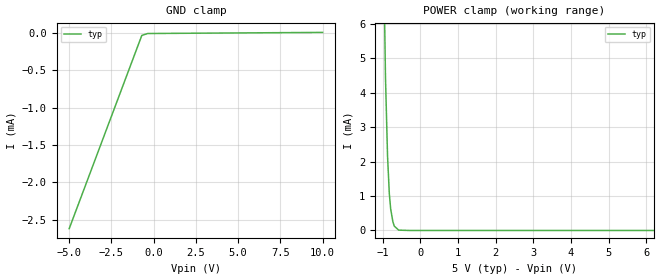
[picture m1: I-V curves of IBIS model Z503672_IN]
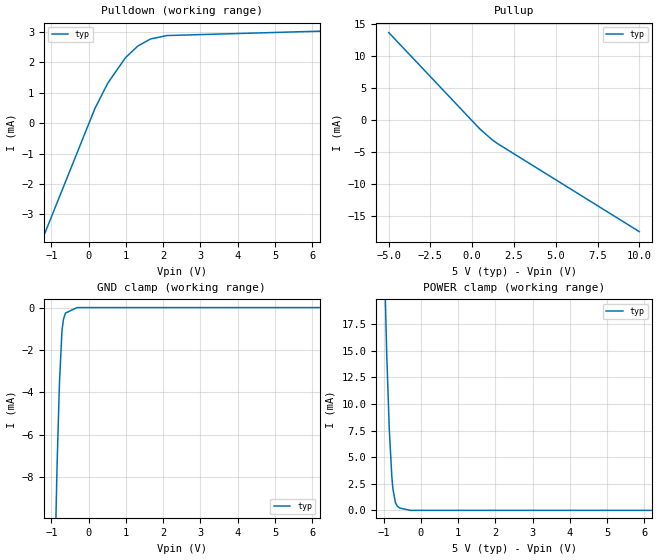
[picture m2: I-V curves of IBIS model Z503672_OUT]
| YOU ARE ONLY AUTHORIZED TO USE THIS SOFTWARE
| ACCORDING TO LICENSOR'S LICENSE RESTRICTIONS.
[IBIS Ver] 3.1
[File Name] mc14556bd.ibs
[File Rev] 2.0
[Source] Measured and created by ICX Technology
[Date] Friday 7/14/00 9:07:57 AM
[Copyright]
| (C) COPYRIGHT 1993-2000
| MENTOR GRAPHICS CORPORATION
| ICX STANDARD LIBRARY, ICX PROJECT MODELING,
| ICX CUSTOM MODELING, ICX VENDOR MODEL
| ALL RIGHTS RESERVED.
| THE FOLLOWING ARE TRADEMARKS OR SERVICE MARKS OF
| MENTOR GRAPHICS CORPORATION:ICX (R), ICX STANDARD
| LIBRARY(R), ICX PROJECT MODELING(R), ICX CUSTOM
| MODELING(R), qualityIBIS(TM), MODELVIEWER(TM),
| AND MODELEDITOR(TM)
| ALL COPIES OF SOFTWARE, INCLUDING BUT NOT LIMITED TO
| ANY MODIFICATIONS, ENHANCEMENTS OR DERIVATIVE WORKS,
| MUST CONTAIN ALL MENTOR GRAPHICS CORPORATION'S
| NOTICES AND LEGENDS, INCLUDING THOSE EMBEDDED IN
| SOFTWARE AND THOSE AFFIXED TO SOFTWARE MEDIUM
| AND CONTAINER, AS RECEIVED FROM MENTOR GRAPHICS
| CORPORATION.
|  ZAP Model Builder 2.7
[Component] MC14556BD
[Manufacturer] OnSemiconductor
[Package]
| variable   typ   min   max
R_pkg  .212ohms NA NA
L_pkg  4.758nH NA NA
C_pkg  1.944pF NA NA
[Pin] signal_name  model_name  R_pin  L_pin C_pin
1 _E Z503672_IN .224 7.258n 2.683p
2 A1 Z503672_IN .216 5.258n 2.19p
3 B1 Z503672_IN .208 3.758n 1.697p
4 _Q0A Z503672_OUT .2 2.758n 1.204p
5 _Q1A Z503672_OUT .2 2.758n 1.204p
6 _Q2A Z503672_OUT .208 3.758n 1.697p
7 _Q3A Z503672_OUT .216 5.258n 2.19p
8 VSS POWER .224 7.258n 2.683p
9 _Q3B Z503672_OUT .224 7.258n 2.683p
10 _Q2B Z503672_OUT .216 5.258n 2.19p
11 _Q1B Z503672_OUT .208 3.758n 1.697p
12 _Q0B Z503672_OUT .2 2.758n 1.204p
13 B2 Z503672_IN .2 2.758n 1.204p
14 A2 Z503672_IN .208 3.758n 1.697p
15 _E Z503672_IN .216 5.258n 2.19p
16 VDD POWER .224 7.258n 2.683p
| Models and submodels in the file (2): Z503672_IN (Input), Z503672_OUT (Output)
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| (C) COPYRIGHT 1993-2000
| MENTOR GRAPHICS CORPORATION
| ICX STANDARD LIBRARY, ICX PROJECT MODELING,
| ICX CUSTOM MODELING, ICX VENDOR MODEL
| ALL RIGHTS RESERVED.
| THE FOLLOWING ARE TRADEMARKS OR SERVICE MARKS OF
| MENTOR GRAPHICS CORPORATION:ICX (R), ICX STANDARD
| LIBRARY(R), ICX PROJECT MODELING(R), ICX CUSTOM
| MODELING(R), qualityIBIS(TM), MODELVIEWER(TM),
| AND MODELEDITOR(TM)
| ALL COPIES OF SOFTWARE, INCLUDING BUT NOT LIMITED TO
| ANY MODIFICATIONS, ENHANCEMENTS OR DERIVATIVE WORKS,
| MUST CONTAIN ALL MENTOR GRAPHICS CORPORATION'S
| NOTICES AND LEGENDS, INCLUDING THOSE EMBEDDED IN
| SOFTWARE AND THOSE AFFIXED TO SOFTWARE MEDIUM
| AND CONTAINER, AS RECEIVED FROM MENTOR GRAPHICS
| CORPORATION.
| Model Application Version 1.89 2/18/99.
[Model] Z503672_IN
Model_type Input
Vinl = 1.500V
Vinh = 3.500V
C_comp 4.000pF NA NA
| variable typ   min   max
[Voltage Range] 5.000V NA NA
[GND Clamp Reference] 0.000V NA NA
[POWER Clamp Reference] 5.000V NA NA
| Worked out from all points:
|   POWER clamp passes 1 mA (typ) near -0.81 V on its own axis
[GND Clamp]
-5V       -2.619mA   NA         NA
-703.2mV  -37.27uA   NA         NA
-351.6mV  -11.02uA   NA         NA
10V       3.888uA    NA         NA
[POWER Clamp]
-5V       457.8mA    NA         NA
-1.014V   11.33mA    NA         NA
-922mV    4.47mA     NA         NA
-867mV    2.165mA    NA         NA
-820mV    1.076mA    NA         NA
-784mV    627.7uA    NA         NA
-725mV    252.8uA    NA         NA
-688mV    126.7uA    NA         NA
-571mV    10.11uA    NA         NA
-285.5mV  0A         NA         NA
10V       0A         NA         NA
| (C) COPYRIGHT 1993-2000
| MENTOR GRAPHICS CORPORATION
| ICX STANDARD LIBRARY, ICX PROJECT MODELING,
| ICX CUSTOM MODELING, ICX VENDOR MODEL
| ALL RIGHTS RESERVED.
| THE FOLLOWING ARE TRADEMARKS OR SERVICE MARKS OF
| MENTOR GRAPHICS CORPORATION:ICX (R), ICX STANDARD
| LIBRARY(R), ICX PROJECT MODELING(R), ICX CUSTOM
| MODELING(R), qualityIBIS(TM), MODELVIEWER(TM),
| AND MODELEDITOR(TM)
| ALL COPIES OF SOFTWARE, INCLUDING BUT NOT LIMITED TO
| ANY MODIFICATIONS, ENHANCEMENTS OR DERIVATIVE WORKS,
| MUST CONTAIN ALL MENTOR GRAPHICS CORPORATION'S
| NOTICES AND LEGENDS, INCLUDING THOSE EMBEDDED IN
| SOFTWARE AND THOSE AFFIXED TO SOFTWARE MEDIUM
| AND CONTAINER, AS RECEIVED FROM MENTOR GRAPHICS
| CORPORATION.
| Model Application Version 1.89 2/18/99.
[Model] Z503672_OUT
Model_type Output
Vref=0.000V
Rref=500.0Mohms
Cref=50.00pF
Vmeas=2.500V
C_comp 8.000pF NA NA
| variable typ   min   max
[Voltage Range] 5.000V NA NA
[POWER Clamp Reference] 5.000V NA NA
[Pullup Reference] 5.000V NA NA
[Pulldown Reference] 0.000V NA NA
[GND Clamp Reference] 0.000V NA NA
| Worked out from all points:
|   slope of the pulldown table from 0 to 0.75 V, typ, clamps not added: 426 ohm
|   slope of the pullup table from 0 to 0.75 V, typ, clamps not added: 388 ohm
|   GND clamp passes 1 mA (typ) near -0.71 V on its own axis
|   POWER clamp passes 1 mA (typ) near -0.70 V on its own axis
[GND Clamp]
-5V       -337.9mA   NA         NA
-848.4mV  -7.368mA   NA         NA
-786.1mV  -3.579mA   NA         NA
-717.5mV  -1.068mA   NA         NA
-678.7mV  -567uA     NA         NA
-625mV    -259uA     NA         NA
-312.5mV  0A         NA         NA
10V       0A         NA         NA
[Pulldown]
-5V       -15.29mA   NA         NA
166mV     482.6uA    NA         NA
512.7mV   1.319mA    NA         NA
986.3mV   2.153mA    NA         NA
1.318V    2.536mA    NA         NA
1.656V    2.768mA    NA         NA
2.093V    2.882mA    NA         NA
10V       3.159mA    NA         NA
[Pullup]
-5V       13.72mA    NA         NA
451mV     -1.342mA   NA         NA
1.154V    -2.96mA    NA         NA
1.484V    -3.597mA   NA         NA
10V       -17.41mA   NA         NA
[POWER Clamp]
-5V       585.6mA    NA         NA
-917mV    14.67mA    NA         NA
-848mV    7.579mA    NA         NA
-779mV    3.105mA    NA         NA
-751mV    2.025mA    NA         NA
-684mV    736.3uA    NA         NA
-630mV    370.5uA    NA         NA
-557mV    208.2uA    NA         NA
-278.5mV  0A         NA         NA
10V       0A         NA         NA
[Ramp]
| variable typ min max
dV/dt_r 2.619/11.81n NA NA
dV/dt_f 2.619/17.98n NA NA
R_load = 2.500kOhms
